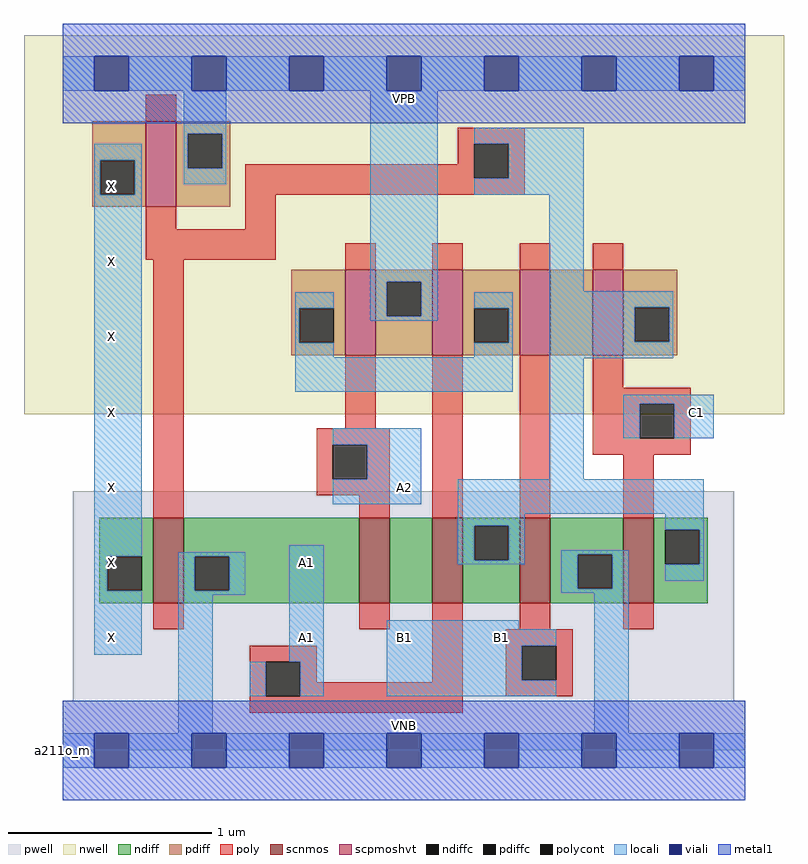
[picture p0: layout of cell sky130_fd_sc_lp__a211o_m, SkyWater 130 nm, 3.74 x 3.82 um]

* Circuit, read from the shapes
.subckt sky130_fd_sc_lp__a211o_m A1 A2 B1 C1 VGND VNB VPB VPWR X
XM1 VGND n1 X VNB sky130_fd_pr__nfet_01v8 w=0.42 l=0.15
XM2 n2 A2 VGND VNB sky130_fd_pr__nfet_01v8 w=0.42 l=0.15
XM3 n1 A1 n2 VNB sky130_fd_pr__nfet_01v8 w=0.42 l=0.15
XM4 VGND B1 n1 VNB sky130_fd_pr__nfet_01v8 w=0.42 l=0.15
XM5 n1 C1 VGND VNB sky130_fd_pr__nfet_01v8 w=0.42 l=0.15
XM6 VPWR n1 X VPB sky130_fd_pr__pfet_01v8_hvt w=0.42 l=0.15
XM7 VPWR A2 n3 VPB sky130_fd_pr__pfet_01v8_hvt w=0.42 l=0.15
XM8 n3 A1 VPWR VPB sky130_fd_pr__pfet_01v8_hvt w=0.42 l=0.15
XM9 n4 B1 n3 VPB sky130_fd_pr__pfet_01v8_hvt w=0.42 l=0.15
XM10 n1 C1 n4 VPB sky130_fd_pr__pfet_01v8_hvt w=0.42 l=0.15
.ends

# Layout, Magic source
magic
tech sky130A
magscale 1 2
<< nwell >>
rect -38 331 710 704
<< pwell >>
rect 10 49 661 255
rect 0 0 672 49
<< scnmos >>
rect 89 145 119 229
rect 292 145 322 229
rect 364 145 394 229
rect 450 145 480 229
rect 552 145 582 229
<< scpmoshvt >>
rect 82 535 112 619
rect 278 389 308 473
rect 364 389 394 473
rect 450 389 480 473
rect 522 389 552 473
<< ndiff >>
rect 36 191 89 229
rect 36 157 44 191
rect 78 157 89 191
rect 36 145 89 157
rect 119 191 292 229
rect 119 157 130 191
rect 164 157 292 191
rect 119 145 292 157
rect 322 145 364 229
rect 394 221 450 229
rect 394 187 405 221
rect 439 187 450 221
rect 394 145 450 187
rect 480 193 552 229
rect 480 159 507 193
rect 541 159 552 193
rect 480 145 552 159
rect 582 217 635 229
rect 582 183 593 217
rect 627 183 635 217
rect 582 145 635 183
<< pdiff >>
rect 29 581 82 619
rect 29 547 37 581
rect 71 547 82 581
rect 29 535 82 547
rect 112 607 165 619
rect 112 573 123 607
rect 157 573 165 607
rect 112 535 165 573
rect 225 435 278 473
rect 225 401 233 435
rect 267 401 278 435
rect 225 389 278 401
rect 308 461 364 473
rect 308 427 319 461
rect 353 427 364 461
rect 308 389 364 427
rect 394 435 450 473
rect 394 401 405 435
rect 439 401 450 435
rect 394 389 450 401
rect 480 389 522 473
rect 552 436 605 473
rect 552 402 563 436
rect 597 402 605 436
rect 552 389 605 402
<< ndiffc >>
rect 44 157 78 191
rect 130 157 164 191
rect 405 187 439 221
rect 507 159 541 193
rect 593 183 627 217
<< pdiffc >>
rect 37 547 71 581
rect 123 573 157 607
rect 233 401 267 435
rect 319 427 353 461
rect 405 401 439 435
rect 563 402 597 436
<< poly >>
rect 82 619 112 645
rect 389 597 455 613
rect 389 577 405 597
rect 180 563 405 577
rect 439 563 455 597
rect 180 547 455 563
rect 82 513 112 535
rect 180 513 210 547
rect 82 483 210 513
rect 89 229 119 483
rect 278 473 308 499
rect 364 473 394 499
rect 450 473 480 499
rect 522 473 552 499
rect 278 317 308 389
rect 250 301 322 317
rect 250 267 266 301
rect 300 267 322 301
rect 250 251 322 267
rect 292 229 322 251
rect 364 229 394 389
rect 450 229 480 389
rect 522 357 552 389
rect 522 341 618 357
rect 522 307 568 341
rect 602 307 618 341
rect 522 291 618 307
rect 552 229 582 291
rect 89 119 119 145
rect 292 119 322 145
rect 184 87 250 103
rect 184 53 200 87
rect 234 67 250 87
rect 364 67 394 145
rect 450 119 480 145
rect 552 119 582 145
rect 234 53 394 67
rect 436 103 502 119
rect 436 69 452 103
rect 486 69 502 103
rect 436 53 502 69
rect 184 37 394 53
<< polycont >>
rect 405 563 439 597
rect 266 267 300 301
rect 568 307 602 341
rect 200 53 234 87
rect 452 69 486 103
<< locali >>
rect 0 649 31 683
rect 65 649 127 683
rect 161 649 223 683
rect 257 649 319 683
rect 353 649 415 683
rect 449 649 511 683
rect 545 649 607 683
rect 641 649 672 683
rect 119 607 161 649
rect 31 581 78 597
rect 31 547 37 581
rect 71 547 78 581
rect 119 573 123 607
rect 157 573 161 607
rect 119 557 161 573
rect 31 191 78 547
rect 303 461 369 649
rect 405 597 513 613
rect 439 563 513 597
rect 405 547 513 563
rect 229 435 267 451
rect 229 401 233 435
rect 303 427 319 461
rect 353 427 369 461
rect 479 452 513 547
rect 303 423 369 427
rect 405 435 443 451
rect 229 387 267 401
rect 439 401 443 435
rect 405 387 443 401
rect 229 353 443 387
rect 479 436 601 452
rect 479 402 563 436
rect 597 402 601 436
rect 479 386 601 402
rect 266 301 353 317
rect 300 267 353 301
rect 479 267 513 386
rect 552 341 641 350
rect 552 307 568 341
rect 602 307 641 341
rect 266 242 353 267
rect 389 233 631 267
rect 389 221 455 233
rect 31 157 44 191
rect 31 94 78 157
rect 114 191 180 195
rect 114 157 130 191
rect 164 157 180 191
rect 114 153 180 157
rect 114 17 148 153
rect 223 87 257 202
rect 389 187 405 221
rect 439 187 455 221
rect 593 217 631 233
rect 389 183 455 187
rect 491 193 557 197
rect 491 159 507 193
rect 541 159 557 193
rect 627 183 631 217
rect 593 167 631 183
rect 491 155 557 159
rect 184 53 200 87
rect 234 53 257 87
rect 319 119 449 128
rect 319 103 486 119
rect 319 69 452 103
rect 319 53 486 69
rect 523 17 557 155
rect 0 -17 31 17
rect 65 -17 127 17
rect 161 -17 223 17
rect 257 -17 319 17
rect 353 -17 415 17
rect 449 -17 511 17
rect 545 -17 607 17
rect 641 -17 672 17
<< viali >>
rect 31 649 65 683
rect 127 649 161 683
rect 223 649 257 683
rect 319 649 353 683
rect 415 649 449 683
rect 511 649 545 683
rect 607 649 641 683
rect 31 -17 65 17
rect 127 -17 161 17
rect 223 -17 257 17
rect 319 -17 353 17
rect 415 -17 449 17
rect 511 -17 545 17
rect 607 -17 641 17
<< metal1 >>
rect 0 683 672 715
rect 0 649 31 683
rect 65 649 127 683
rect 161 649 223 683
rect 257 649 319 683
rect 353 649 415 683
rect 449 649 511 683
rect 545 649 607 683
rect 641 649 672 683
rect 0 617 672 649
rect 0 17 672 49
rect 0 -17 31 17
rect 65 -17 127 17
rect 161 -17 223 17
rect 257 -17 319 17
rect 353 -17 415 17
rect 449 -17 511 17
rect 545 -17 607 17
rect 641 -17 672 17
rect 0 -49 672 -17
<< labels >>
flabel pwell s 0 0 672 49 0 FreeSans 200 0 0 0 VNB
port 6 nsew ground bidirectional
flabel nwell s 0 617 672 666 0 FreeSans 200 0 0 0 VPB
port 7 nsew power bidirectional
rlabel comment s 0 0 0 0 4 a211o_m
flabel metal1 s 0 617 672 666 0 FreeSans 340 0 0 0 VPWR
port 8 nsew power bidirectional
flabel metal1 s 0 0 672 49 0 FreeSans 340 0 0 0 VGND
port 5 nsew ground bidirectional
flabel locali s 319 242 353 276 0 FreeSans 340 0 0 0 A2
port 2 nsew signal input
flabel locali s 607 316 641 350 0 FreeSans 340 0 0 0 C1
port 4 nsew signal input
flabel locali s 223 94 257 128 0 FreeSans 340 0 0 0 A1
port 1 nsew signal input
flabel locali s 223 168 257 202 0 FreeSans 340 0 0 0 A1
port 1 nsew signal input
flabel locali s 319 94 353 128 0 FreeSans 340 0 0 0 B1
port 3 nsew signal input
flabel locali s 415 94 449 128 0 FreeSans 340 0 0 0 B1
port 3 nsew signal input
flabel locali s 31 94 65 128 0 FreeSans 340 0 0 0 X
port 9 nsew signal output
flabel locali s 31 168 65 202 0 FreeSans 340 0 0 0 X
port 9 nsew signal output
flabel locali s 31 242 65 276 0 FreeSans 340 0 0 0 X
port 9 nsew signal output
flabel locali s 31 316 65 350 0 FreeSans 340 0 0 0 X
port 9 nsew signal output
flabel locali s 31 390 65 424 0 FreeSans 340 0 0 0 X
port 9 nsew signal output
flabel locali s 31 464 65 498 0 FreeSans 340 0 0 0 X
port 9 nsew signal output
flabel locali s 31 538 65 572 0 FreeSans 340 0 0 0 X
port 9 nsew signal output
<< properties >>
string LEFsite unit
string LEFclass CORE
string FIXED_BBOX 0 0 672 666
string GDS_FILE $PDKPATH/libs.ref/sky130_fd_sc_lp/gds/sky130_fd_sc_lp.gds
string LEFsymmetry X Y R90
string GDS_END 1968566
string GDS_START 1961890
<< end >>
